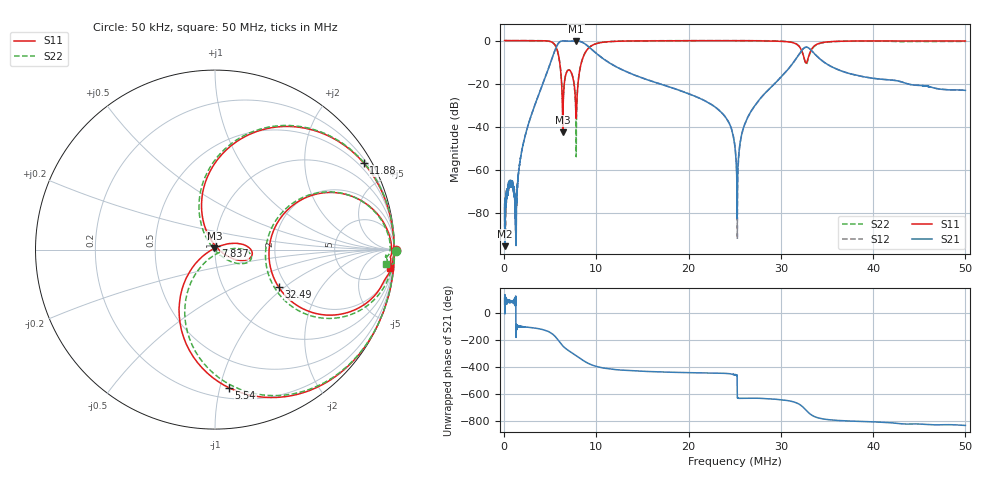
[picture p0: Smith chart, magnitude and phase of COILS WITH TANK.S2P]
!Keysight Technologies,E5063A,MY54100949,A.07.30
!Date: Fri Dec 19 01:24:27 2025
!Data & Calibration Information:
!Freq	S11:SOLT2(ON)	S21:SOLT2(ON)	S12:SOLT2(ON)	S22:SOLT2(ON)
# Hz S RI R 50
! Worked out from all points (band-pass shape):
!   10001 points, 50 kHz to 50 MHz, reference 50 ohm
!   highest |S21| = -0.11 dB at 7.792 MHz (marker M1); lowest = -95.4 dB at 64.98 kHz (marker M2)
!   |S21| within 3 dB of the highest: 5.639 MHz to 9.233 MHz (3.594 MHz wide, 48.3 % of centre); 32.65 MHz to 32.87 MHz (219.1 kHz wide, 0.669 % of centre)
!   lowest |S11| = -42.5 dB at 6.354 MHz (marker M3), VSWR 1.02, Z = 49.6 + j0.654 ohm
!   |S11| at or under -10 dB: 6.018 MHz to 8.387 MHz (2.368 MHz wide, 32.9 % of centre); 32.65077 MHz to 32.81346 MHz (162.7 kHz wide, 0.497 % of centre)
!   |S22| runs from -53.9 to 0.1 dB; largest |S21 - S12| = 0.0041
!   S11 on the Smith chart (normalised r, x): 50 kHz: open; 5.54 MHz: 0.28, -1.07; 7.837 MHz: 1.01, +0.04; 11.88 MHz: 0.31, +3.68; 32.49 MHz: 1.81, -0.91; 50 MHz: 4, -18
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50000  1.006 -0.00408  -5.89e-05 0.000148  8.46e-05 0.000108  1.008 -0.00558
64985  1.003 -0.00658  -1.33e-06 1.69e-05  -2.83e-05 7.8e-05  1.004 -0.00961
679370  0.998 -0.0583  1.64e-05 0.000539  2.74e-05 0.000541  0.9988 -0.0591
1283765  0.994 -0.1125  -4.14e-05 -5.59e-05  -1.34e-05 2.15e-05  0.9944 -0.1129
2372675  0.9748 -0.2255  -0.00167 -0.00722  -0.00175 -0.00726  0.9749 -0.2242
4495550  0.7727 -0.6176  -0.0926 -0.1159  -0.0928 -0.1157  0.7789 -0.608
5539505  0.0778 -0.7698  -0.6177 -0.0643  -0.6172 -0.0639  0.1078 -0.7648
6353690  -0.00361 0.00659  -0.4394 0.8834  -0.4401 0.8833  0.0104 -0.0229
7117925  0.2004 -0.0418  0.251 0.9352  0.251 0.9356  0.1934 -0.0637
7792250  0.018 0.00366  0.7048 0.6908  0.7046 0.6914  0.00426 -0.00745
7837205  0.00341 0.0195  0.7296 0.6638  0.7295 0.6646  -0.0104 0.00835
8376665  -0.0712 0.302  0.8956 0.2651  0.8961 0.2661  -0.085 0.2999
1.187816e7  0.8285 0.4823  0.1361 -0.2278  0.1361 -0.2285  0.8295 0.4852
1.670333e7  0.9691 0.215  0.0228 -0.0991  0.0226 -0.0992  0.9702 0.2176
2.335168e7  0.9965 0.0465  0.00105 -0.0237  0.00105 -0.0238  0.9973 0.0503
2.5025e7  0.9965 0.00964  -0.000506 -0.00323  -0.000351 -0.00352  0.9978 0.0136
2.535467e7  0.9969 0.00179  7.59e-05 0.0012  8.96e-05 0.000998  0.998 0.00618
2.689812e7  0.994 -0.0403  0.00167 0.0253  0.00182 0.0251  0.996 -0.0343
3.248753e7  0.3556 -0.2101  0.6462 0.1647  0.6469 0.1614  0.3415 -0.2272
3.335166e7  0.5625 0.3088  0.4422 -0.3716  0.4444 -0.3716  0.5399 0.3089
4.167833e7  0.9837 -0.0244  -0.0111 -0.1227  -0.0113 -0.1228  0.9676 -0.0289
5e7  0.973 -0.1044  -0.0313 -0.0626  -0.0315 -0.0628  0.9538 -0.0786
